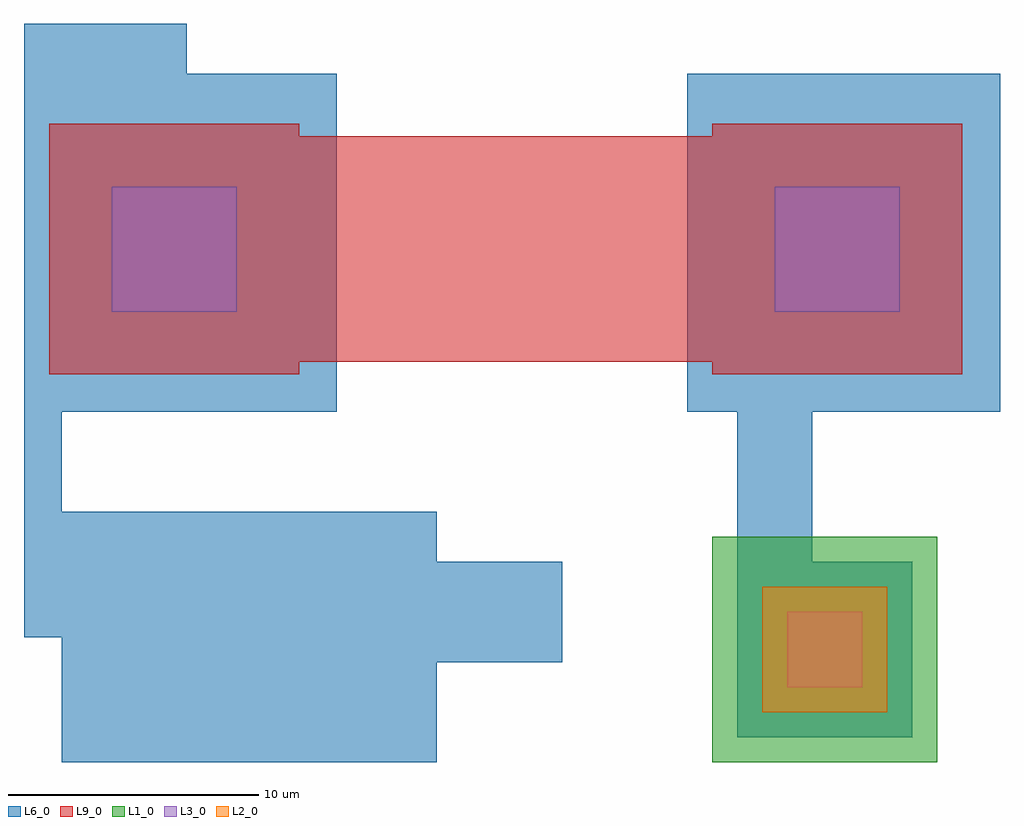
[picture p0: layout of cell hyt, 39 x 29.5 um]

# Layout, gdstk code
import gdstk
lib = gdstk.Library(unit=1e-6, precision=1e-09)
def R(c, l, rs):  # rectangles x0, y0, x1, y1
    for r in rs: c.add(gdstk.rectangle(r[:2], r[2:], *l))
L1_0 = (1, 0)
L2_0 = (2, 0)
L3_0 = (3, 0)
L6_0 = (6, 0)
L9_0 = (9, 0)

hynull = lib.new_cell('hynull')
R(hynull, L6_0, [(0,0,15,10)])

hyend = lib.new_cell('hyend')
R(hyend, L3_0, [(2.5,2.5,7.5,7.5)])
R(hyend, L6_0, [(-1,-1.5,11.5,12)])
R(hyend, L9_0, [(0,0,10,10)])

hyjj = lib.new_cell('hyjj')
R(hyjj, L1_0, [(-17,-12,-8,-3)])
R(hyjj, L2_0, [(-15,-10,-10,-5)])
R(hyjj, L3_0, [(-14,-9,-11,-6)])
R(hyjj, L6_0, [(-16,-11,-9,-4)])

hyt = lib.new_cell('hyt')
R(hyt, L6_0, [(0,-45,5,-41), (-16.5,-44,-15,-35), (12,-41,15,-35), (-16.5,-21.5,-10,-19.5)])
R(hyt, L9_0, [(-5.5,-33,11,-24)])
hyt.add(gdstk.Reference(hynull, (-15,-49)))
hyt.add(gdstk.Reference(hyend, (-15.5,-33.5)))
hyt.add(gdstk.Reference(hyend, (11,-33.5)))
hyt.add(gdstk.Reference(hyjj, (28,-37)))

lib.write_gds('hyt.gds')
